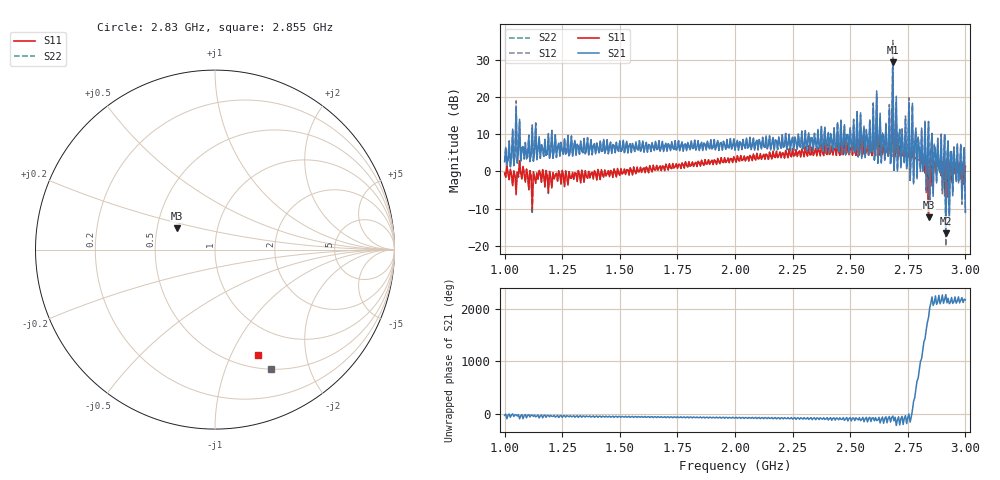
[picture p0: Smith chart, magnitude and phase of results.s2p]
! rfsim (KiCad + openEMS)
# HZ S RI R 50
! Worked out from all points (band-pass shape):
!   401 points, 1 GHz to 3 GHz, reference 50 ohm
!   highest |S21| = 29.27 dB at 2.685 GHz (marker M1); lowest = -16.7 dB at 2.915 GHz (marker M2)
!   |S21| within 3 dB of the highest: 2.684373 GHz to 2.685517 GHz (1.144 MHz wide, 0.0426 % of centre)
!   lowest |S11| = -12.4 dB at 2.84 GHz (marker M3), VSWR 1.64, Z = 31.9 + j8.02 ohm
!   |S11| at or under -10 dB: 2.839239 GHz to 2.840769 GHz (1.53 MHz wide, 0.0539 % of centre)
!   |S22| runs from -11.6 to 25.9 dB; largest |S21 - S12| = 30
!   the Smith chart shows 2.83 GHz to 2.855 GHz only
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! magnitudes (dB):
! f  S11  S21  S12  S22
! 1 GHz  -0.4  2.6  2.6  -0.5
! 1.055 GHz  -0.2  2.2  2.1  -0.2
! 1.09 GHz  -2.9  7.6  7.8  -2.9
! 1.335 GHz  0.3  5.5  5.4  0.3
! 1.67 GHz  0.9  8.2  8.2  1.0
! 2 GHz  3.2  5.7  5.7  3.2
! 2.335 GHz  6.6  9.0  8.8  6.5
! 2.585 GHz  6.8  13.6  14.1  7.2
! 2.605 GHz  5.2  3.1  3.0  5.2
! 2.67 GHz  8.2  17.0  17.9  9.1
! 2.675 GHz  5.0  2.1  1.9  4.9
! 2.685 GHz  19.7  29.3  35.1  25.9
! 2.69 GHz  4.5  0.3  0.3  4.5
! 2.7 GHz  12.3  20.2  18.5  11.1
! 2.755 GHz  5.8  18.6  19.8  6.9
! 2.76 GHz  3.9  -2.4  -2.4  3.9
! 2.84 GHz  -12.4  13.3  13.4  -11.6
! 2.915 GHz  2.0  -16.7  -20.1  2.1
! 2.925 GHz  -7.0  8.2  8.0  -6.7
! 2.93 GHz  2.2  -14.7  -12.7  2.2
! 2.985 GHz  1.0  -7.7  -8.8  1.1
! 3 GHz  1.4  -10.9  -11.2  1.4
